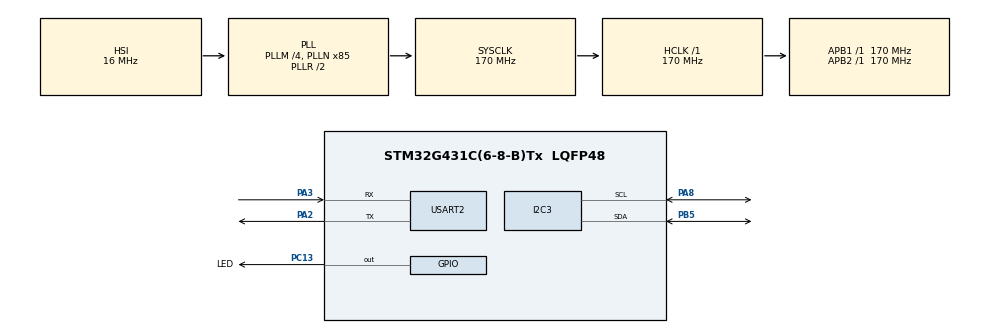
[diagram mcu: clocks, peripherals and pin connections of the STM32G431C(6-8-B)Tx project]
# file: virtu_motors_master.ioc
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I2C3.Timing=0x40B285C2
Mcu.Family=STM32G4
Mcu.Name=STM32G431C(6-8-B)Tx
Mcu.Package=LQFP48
NVIC.I2C3_ER_IRQn=true\:0\:0\:false\:false\:true\:true\:true\:true
NVIC.I2C3_EV_IRQn=true\:0\:0\:false\:false\:true\:true\:true\:true
NVIC.PriorityGroup=NVIC_PRIORITYGROUP_4
NVIC.USART2_IRQn=true\:0\:0\:false\:false\:true\:true\:true\:true
PA13.Mode=Serial_Wire
PA13.Signal=SYS_JTMS-SWDIO
PA14.Mode=Serial_Wire
PA14.Signal=SYS_JTCK-SWCLK
PA2.Mode=Asynchronous
PA2.Signal=USART2_TX
PA3.Mode=Asynchronous
PA3.Signal=USART2_RX
PA8.Mode=I2C
PA8.Signal=I2C3_SCL
PB5.Mode=I2C
PB5.Signal=I2C3_SDA
PC13.GPIO_Label=LED
PC13.Signal=GPIO_Output
PF0-OSC_IN.Mode=HSE-External-Oscillator
PF0-OSC_IN.Signal=RCC_OSC_IN
PF1-OSC_OUT.Mode=HSE-External-Oscillator
PF1-OSC_OUT.Signal=RCC_OSC_OUT
ProjectManager.HeapSize=0x200
ProjectManager.StackSize=0x400
ProjectManager.TargetToolchain=STM32CubeIDE
RCC.ADC12Freq_Value=170000000
RCC.AHBFreq_Value=170000000
RCC.APB1Freq_Value=170000000
RCC.APB1TimFreq_Value=170000000
RCC.APB2Freq_Value=170000000
RCC.APB2TimFreq_Value=170000000
RCC.CortexFreq_Value=170000000
RCC.EXTERNAL_CLOCK_VALUE=12288000
RCC.HCLKFreq_Value=170000000
RCC.HSE_VALUE=8000000
RCC.HSI48_VALUE=48000000
RCC.HSI_VALUE=16000000
RCC.LSE_VALUE=32768
RCC.PLLM=RCC_PLLM_DIV4
RCC.PLLN=85
RCC.SYSCLKFreq_VALUE=170000000
RCC.SYSCLKSource=RCC_SYSCLKSOURCE_PLLCLK
RCC.USBFreq_Value=170000000
RCC.VCOOutputFreq_Value=340000000
USART2.VirtualMode-Asynchronous=VM_ASYNC
VP_SYS_VS_DBSignals.Mode=DisableDeadBatterySignals
board=custom

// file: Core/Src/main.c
/* USER CODE BEGIN Header */
/**
 ******************************************************************************
 * @file           : main.c
 * @brief          : Main program body
 ******************************************************************************
 * @attention
 *
 * Copyright (c) 2026 STMicroelectronics.
 * All rights reserved.
 *
 * This software is licensed under terms that can be found in the LICENSE file
 * in the root directory of this software component.
 * If no LICENSE file comes with this software, it is provided AS-IS.
 *
 ******************************************************************************
 */
/* USER CODE END Header */
#include "main.h"
#include "i2c.h"
#include "usart.h"
#include "gpio.h"
#include "uart_parse.h"

/* USER CODE BEGIN PTD */
//can use rx.rx_buff_array[10] or rx.rx_buff.start_byte
/* USER CODE END PTD */

/* USER CODE BEGIN PD */
HAL_StatusTypeDef ret1;
HAL_StatusTypeDef ret2;
HAL_StatusTypeDef ret3;

/* USER CODE END PD */

/* USER CODE BEGIN PV */
uint8_t uart_byte;
volatile uint32_t packetSize;

uint8_t i2cByte = 1;
uint8_t txdata = 0x55;
uint8_t tx[2] = {0xFD, 0x09};
uint32_t i2cTimer = 0;
channel_t testChannel;
HAL_StatusTypeDef status;
uint16_t size;
/* USER CODE END PV */

void SystemClock_Config(void);
/* USER CODE BEGIN PFP */
void uart_rx_i2c_tx(void);
/* USER CODE END PFP */

int main(void)
{

	/* MCU Configuration--------------------------------------------------------*/

	/* Reset of all peripherals, Initializes the Flash interface and the Systick. */
	HAL_Init();

	/* USER CODE BEGIN Init */
	uint32_t ledTimer = HAL_GetTick();

	/* USER CODE END Init */

	/* Configure the system clock */
	SystemClock_Config();

	/* Initialize all configured peripherals */
	MX_GPIO_Init();
	MX_I2C3_Init();
	MX_USART2_UART_Init();
	/* USER CODE BEGIN 2 */
//	HAL_UART_Receive_IT(&huart2,&uart_byte,	1);

	/* USER CODE END 2 */

	/* Infinite loop */
	/* USER CODE BEGIN WHILE */
	while (1)
	{
//		HAL_Delay(5);
//		uart_rx_status=1;

//		uart_rx_i2c_tx();
//HAL_GPIO_TogglePin(GPIOC, 13);
		uint32_t now = HAL_GetTick();
		 if(now - i2cTimer >= 1000)
		    {
		        i2cTimer = now;

		        i2cByte = !i2cByte;
		   	 HAL_GPIO_TogglePin(LED_GPIO_Port, LED_Pin);
		        status = HAL_I2C_Master_Transmit(&hi2c3,
		                                         0x71 << 1,
												 tx,
		                                         sizeof(tx),
		                                         1000);
		        size=sizeof(txdata);
//
//		        HAL_I2C_Master_Transmit(&hi2c3, 0x71 << 1, &txdata, 1, 1000);
//		        ret3 = HAL_I2C_Master_Transmit_IT(&hi2c3,0x71 << 1,1,1);

//		        testChannel.startByte = 0xFD;
//
//		        testChannel.dataLenth = 9;
//
//		        testChannel.volt = 12.5;
//
//		        testChannel.current = 1.25;
//
//		        testChannel.cmd = 1;
//
//		        testChannel.end_byte = 0xFE;
////
////		        uint8_t tx = 0x55;
////
////		        status = HAL_I2C_Master_Transmit(
////		                 &hi2c3,
////		                 0x71<<1,
////		                 &tx,
////		                 1,
////		                 1000);
//		        status = HAL_I2C_Master_Transmit(&hi2c3,
//		                                           0x71 << 1,
//		                                           (uint8_t *)&testChannel,
//		                                           sizeof(testChannel),
//		                                           1000);
		    }

		 if(HAL_GetTick() - ledTimer >= 400) {
			 ledTimer = HAL_GetTick();
		 HAL_GPIO_TogglePin(LED_GPIO_Port, LED_Pin);
		 }
//		uint32_t now = HAL_GetTick();
//		 if(now - i2cTimer >= 1000)
//		 {
//		     i2cTimer = now;
//
//		     testChannel.startByte = 0xFD;
//
//		     testChannel.dataLenth = 9;
//
//		     testChannel.volt = 12.5;
//
//		     testChannel.current = 1.25;
//
//		     testChannel.cmd = 1;
//
//		     testChannel.end_byte = 0xFE;
//
//		     ret3 = HAL_I2C_Master_Transmit(&hi2c3,
//		                                    0x71 << 1,
//		                                    (uint8_t *)&testChannel,
//		                                    sizeof(testChannel),
//		                                    1000);
//		 }
		/* USER CODE END WHILE */

	}
}

void SystemClock_Config(void)
{
	RCC_OscInitTypeDef RCC_OscInitStruct = {0};
	RCC_ClkInitTypeDef RCC_ClkInitStruct = {0};

	/** Configure the main internal regulator output voltage
	 */
	HAL_PWREx_ControlVoltageScaling(PWR_REGULATOR_VOLTAGE_SCALE1_BOOST);

	/** Initializes the RCC Oscillators according to the specified parameters
	 * in the RCC_OscInitTypeDef structure.
	 */
	RCC_OscInitStruct.OscillatorType = RCC_OSCILLATORTYPE_HSI;
	RCC_OscInitStruct.HSIState = RCC_HSI_ON;
	RCC_OscInitStruct.HSICalibrationValue = RCC_HSICALIBRATION_DEFAULT;
	RCC_OscInitStruct.PLL.PLLState = RCC_PLL_ON;
	RCC_OscInitStruct.PLL.PLLSource = RCC_PLLSOURCE_HSI;
	RCC_OscInitStruct.PLL.PLLM = RCC_PLLM_DIV4;
	RCC_OscInitStruct.PLL.PLLN = 85;
	RCC_OscInitStruct.PLL.PLLP = RCC_PLLP_DIV2;
	RCC_OscInitStruct.PLL.PLLQ = RCC_PLLQ_DIV2;
	RCC_OscInitStruct.PLL.PLLR = RCC_PLLR_DIV2;
	if (HAL_RCC_OscConfig(&RCC_OscInitStruct) != HAL_OK)
	{
		Error_Handler();
	}

	/** Initializes the CPU, AHB and APB buses clocks
	 */
	RCC_ClkInitStruct.ClockType = RCC_CLOCKTYPE_HCLK|RCC_CLOCKTYPE_SYSCLK
			|RCC_CLOCKTYPE_PCLK1|RCC_CLOCKTYPE_PCLK2;
	RCC_ClkInitStruct.SYSCLKSource = RCC_SYSCLKSOURCE_PLLCLK;
	RCC_ClkInitStruct.AHBCLKDivider = RCC_SYSCLK_DIV1;
	RCC_ClkInitStruct.APB1CLKDivider = RCC_HCLK_DIV1;
	RCC_ClkInitStruct.APB2CLKDivider = RCC_HCLK_DIV1;

	if (HAL_RCC_ClockConfig(&RCC_ClkInitStruct, FLASH_LATENCY_4) != HAL_OK)
	{
		Error_Handler();
	}
}

/* USER CODE BEGIN 4 */
//
//void uart_rx_i2c_tx(void){
//	if(uart_rx_status==1){
//
//		channel_1.data.cmd=txData.packet.cmd_1;
//		channel_2.data.cmd=txData.packet.cmd_2;
//		channel_3.data.cmd=txData.packet.cmd_3;
//		channel_4.data.cmd=txData.packet.cmd_4;
//		channel_5.data.cmd=txData.packet.cmd_5;
//		channel_6.data.cmd=txData.packet.cmd_6;
//
//		channel_1.data.volt=txData.packet.volt_1;
//		channel_2.data.volt=txData.packet.volt_2;
//		channel_3.data.volt=txData.packet.volt_3;
//		channel_4.data.volt=txData.packet.volt_4;
//		channel_5.data.volt=txData.packet.volt_5;
//		channel_6.data.volt=txData.packet.volt_6;
//
//		channel_1.data.current=txData.packet.current_1;
//		channel_2.data.current=txData.packet.current_2;
//		channel_3.data.current=txData.packet.current_3;
//		channel_4.data.current=txData.packet.current_4;
//		channel_5.data.current=txData.packet.current_5;
//		channel_6.data.current=txData.packet.current_6;
//
//		channel_1.data.startByte=START_BYTE;
//		channel_2.data.startByte=START_BYTE;
//		channel_3.data.startByte=START_BYTE;
//		channel_4.data.startByte=START_BYTE;
//		channel_5.data.startByte=START_BYTE;
//		channel_6.data.startByte=START_BYTE;
//
//		channel_1.data.end_byte=END_BYTE;
//		channel_2.data.end_byte=END_BYTE;
//		channel_3.data.end_byte=END_BYTE;
//		channel_4.data.end_byte=END_BYTE;
//		channel_5.data.end_byte=END_BYTE;
//		channel_6.data.end_byte=END_BYTE;
//
//		channel_1.data.dataLenth=9;
//		channel_2.data.dataLenth=9;
//		channel_3.data.dataLenth=9;
//		channel_4.data.dataLenth=9;
//		channel_5.data.dataLenth=9;
//		channel_6.data.dataLenth=9;
//
//		uart_rx_status=0;
//
////		 ret1 = HAL_I2C_Master_Transmit_IT(&hi2c3,0x51 << 1,1,1);
////		 ret2 = HAL_I2C_Master_Transmit_IT(&hi2c3,0x61 << 1,1,1);
////		 ret3 = HAL_I2C_Master_Transmit_IT(&hi2c3,0x71 << 1,1,1);
////		 ret1 = HAL_I2C_Master_Transmit(&hi2c3,0x51 << 1,(uint8_t*)&channel_1.data,sizeof(channel_1.data),1000);
////		 ret2 = HAL_I2C_Master_Transmit(&hi2c3,0x61 << 1,(uint8_t*)&channel_2.data,sizeof(channel_2.data),1000);
////		 ret3 = HAL_I2C_Master_Transmit(&hi2c3,0x71 << 1,(uint8_t*)&channel_3.data,sizeof(channel_3.data),1000);
//////		HAL_I2C_Master_Transmit(&hi2c1,0x52 << 1,&channel_4.buffer,sizeof(channel_4.data),1000);
////		HAL_I2C_Master_Transmit(&hi2c1,0x52 << 1,&channel_5.buffer,sizeof(channel_5.data),1000);
////		HAL_I2C_Master_Transmit(&hi2c1,0x52 << 1,&channel_6.buffer,sizeof(channel_6.data),1000);
//	}
//}
//void HAL_UART_RxCpltCallback(UART_HandleTypeDef *huart)
//{
//	if(huart->Instance == USART2)
//	{
//		UART_Process_Byte(uart_byte);
//
//		HAL_UART_Receive_IT(&huart2,&uart_byte,1);
//	}
//}
/* USER CODE END 4 */

void Error_Handler(void)
{
	__disable_irq();
	while (1)
	{
	}
}
